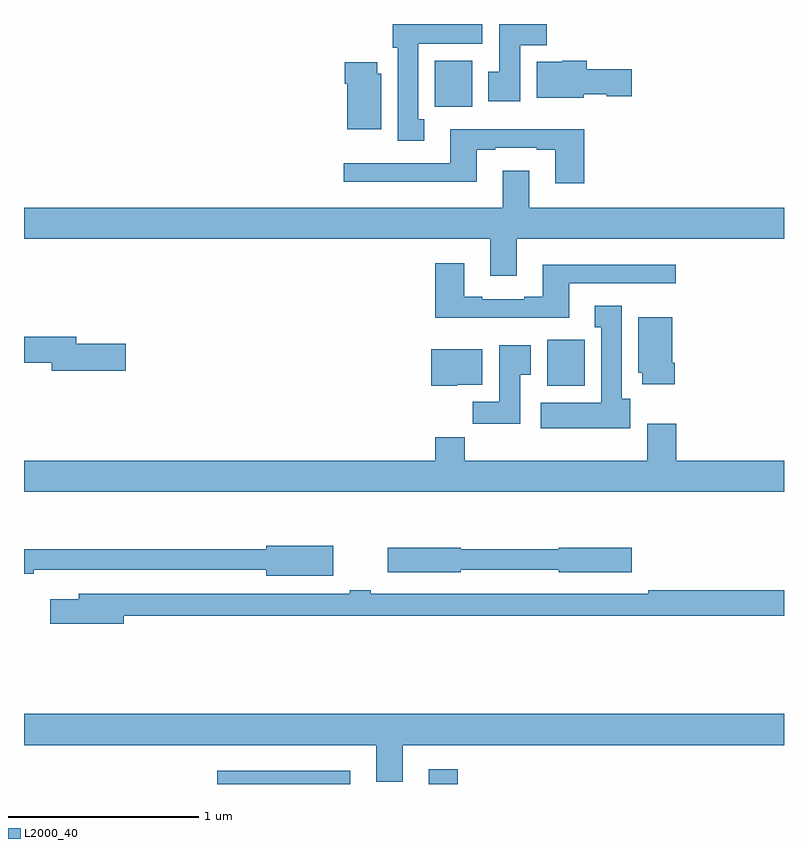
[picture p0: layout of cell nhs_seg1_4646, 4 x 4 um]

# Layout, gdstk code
import gdstk
lib = gdstk.Library(unit=1e-6, precision=1e-09)
def R(c, l, rs):  # rectangles x0, y0, x1, y1
    for r in rs: c.add(gdstk.rectangle(r[:2], r[2:], *l))
def P(c, l, *ps):  # polygons
    for p in ps: c.add(gdstk.Polygon(p, *l))
L2000_40 = (2000, 40)

nhs_seg1_4646 = lib.new_cell('nhs_seg1_4646')
R(nhs_seg1_4646, L2000_40, [(364.017,546.199,364.717,546.268), (365.129,546.199,365.282,546.277), (365.753,548.294,365.95,548.536), (365.162,549.764,365.359,550.006)])
P(nhs_seg1_4646, L2000_40, [(365.107,549.698),(365.074,549.698),(365.074,550.094),(365.413,550.094),(365.413,550.199),(364.94,550.199),(364.94,550.074),(364.967,550.074),(364.967,549.585),(365.107,549.585)],
  [(365.611,550.088),(365.75,550.088),(365.75,550.199),(365.501,550.199),(365.501,549.948),(365.444,549.948),(365.444,549.792),(365.611,549.792)],
  [(365.946,549.83),(366.066,549.83),(366.066,549.818),(366.199,549.818),(366.199,549.96),(365.963,549.96),(365.963,550.006),(365.832,550.006),(365.832,550),(365.699,550),(365.699,549.812),(365.946,549.812)],
  [(364.879,549.936),(364.858,549.936),(364.858,549.997),(364.688,549.997),(364.688,549.884),(364.7,549.884),(364.7,549.644),(364.879,549.644)],
  [(365.948,549.646),(365.243,549.646),(365.243,549.465),(364.683,549.465),(364.683,549.368),(365.383,549.368),(365.383,549.537),(365.479,549.537),(365.479,549.549),(365.699,549.549),(365.699,549.537),(365.795,549.537),(365.795,549.36),(365.948,549.36)],
  [(365.593,549.068),(367,549.068),(367,549.232),(365.659,549.232),(365.659,549.427),(365.519,549.427),(365.519,549.232),(363,549.232),(363,549.068),(365.453,549.068),(365.453,548.874),(365.593,548.874)],
  [(365.869,548.835),(366.43,548.835),(366.43,548.932),(365.729,548.932),(365.729,548.764),(365.633,548.764),(365.633,548.751),(365.413,548.751),(365.413,548.764),(365.317,548.764),(365.317,548.941),(365.165,548.941),(365.165,548.654),(365.869,548.654)],
  [(366.19,548.226),(366.145,548.226),(366.145,548.716),(366.005,548.716),(366.005,548.603),(366.038,548.603),(366.038,548.206),(365.721,548.206),(365.721,548.072),(366.19,548.072)],
  [(366.425,548.416),(366.412,548.416),(366.412,548.656),(366.233,548.656),(366.233,548.364),(366.254,548.364),(366.254,548.304),(366.425,548.304)],
  [(363.535,548.516),(363.274,548.516),(363.274,548.552),(363,548.552),(363,548.416),(363.146,548.416),(363.146,548.374),(363.535,548.374)],
  [(365.611,548.353),(365.668,548.353),(365.668,548.509),(365.501,548.509),(365.501,548.212),(365.362,548.212),(365.362,548.094),(365.611,548.094)],
  [(365.28,548.3),(365.413,548.3),(365.413,548.488),(365.144,548.488),(365.144,548.294),(365.28,548.294)],
  [(367,547.9),(366.434,547.9),(366.434,548.095),(366.281,548.095),(366.281,547.9),(365.321,547.9),(365.321,548.024),(365.165,548.024),(365.165,547.9),(363,547.9),(363,547.736),(367,547.736)],
  [(364.627,547.453),(364.274,547.453),(364.274,547.435),(363,547.435),(363,547.306),(363.05,547.306),(363.05,547.326),(364.274,547.326),(364.274,547.295),(364.627,547.295)],
  [(365.298,547.326),(365.814,547.326),(365.814,547.313),(366.199,547.313),(366.199,547.443),(365.814,547.443),(365.814,547.435),(365.298,547.435),(365.298,547.443),(364.914,547.443),(364.914,547.313),(365.298,547.313)],
  [(363.526,547.084),(367,547.084),(367,547.22),(366.286,547.22),(366.286,547.2),(364.826,547.2),(364.826,547.22),(364.714,547.22),(364.714,547.2),(363.287,547.2),(363.287,547.171),(363.138,547.171),(363.138,547.042),(363.526,547.042)],
  [(364.993,546.404),(367,546.404),(367,546.568),(363,546.568),(363,546.404),(364.853,546.404),(364.853,546.21),(364.993,546.21)])

lib.write_gds('nhs_seg1_4646.gds')
